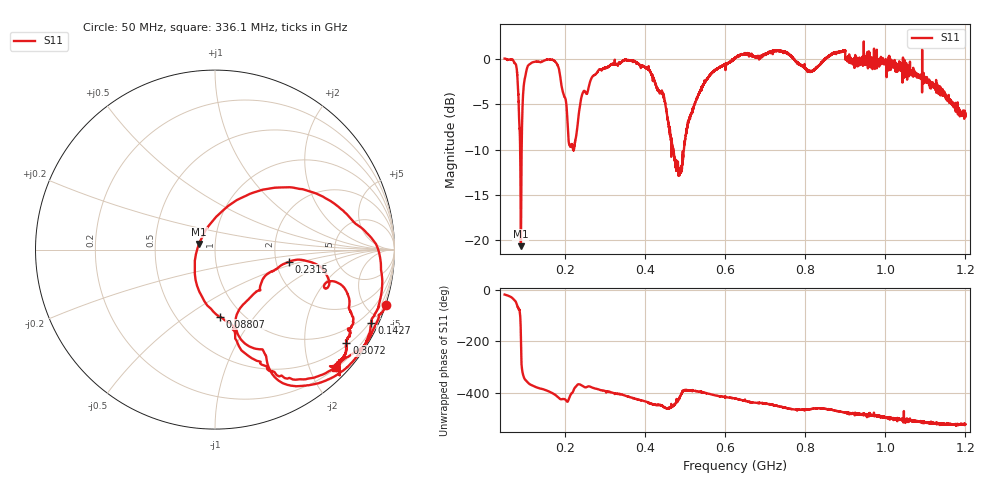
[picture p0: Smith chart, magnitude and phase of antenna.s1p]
! Calibrated high-resolution NanoVNA antenna measurement
# Hz S RI R 50
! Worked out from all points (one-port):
!   40001 points, 50 MHz to 1.2 GHz, reference 50 ohm
!   lowest |S11| = -20.6 dB at 90.65 MHz (marker M1), VSWR 1.21, Z = 41.9 + j2.66 ohm
!   |S11| at or under -10 dB: 88.79 MHz to 92.55 MHz (3.754 MHz wide, 4.14 % of centre); 221.1 MHz to 222.8 MHz (1.782 MHz wide, 0.803 % of centre); 470.5 MHz to 497.4 MHz (26.88 MHz wide, 5.55 % of centre) (the widest 3 of 10)
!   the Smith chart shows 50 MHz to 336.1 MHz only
!   S11 on the Smith chart (normalised r, x): 50 MHz: -0.01, -6.32; 88.06 MHz: 0.79, -0.69; 142.7 MHz: 0.41, -4.48; 231.5 MHz: 2.37, -0.38; 307.2 MHz: 0.56, -3.04; 336.1 MHz: 0.22, -2.41
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5e7  0.9516 -0.3087
6.923375e7  0.8445 -0.5174
7.91525e7  0.5751 -0.7053
8.8065e7  0.0285 -0.3727
9.06525e7  -0.0875 0.0315
9.669e7  0.5984 0.2961
1.063788e8  0.8935 0.0361
1.427188e8  0.8718 -0.4064
1.806112e8  0.5602 -0.7482
1.9375e8  0.2871 -0.6123
2.1468e8  0.2187 -0.244
2.3147e8  0.4137 -0.067
2.676375e8  0.7428 -0.2582
3.071975e8  0.7325 -0.5203
3.3612e8  0.6668 -0.6606
3.375e8  0.6602 -0.6717
4.09835e8  0.1706 -0.8529
4.532762e8  -0.0933 -0.523
4.8125e8  0.08 -0.2415
5.431775e8  0.5555 -0.432
6.25e8  0.4678 -0.8853
7.251075e8  0.00838 -1.106
7.6875e8  -0.2489 -0.9795
8.378938e8  -0.1722 -0.9147
8.7685e8  -0.3805 -1.016
9.125e8  -0.4792 -0.8333
1.05625e9  -0.7316 -0.4651
1.2e9  -0.4647 -0.1527
